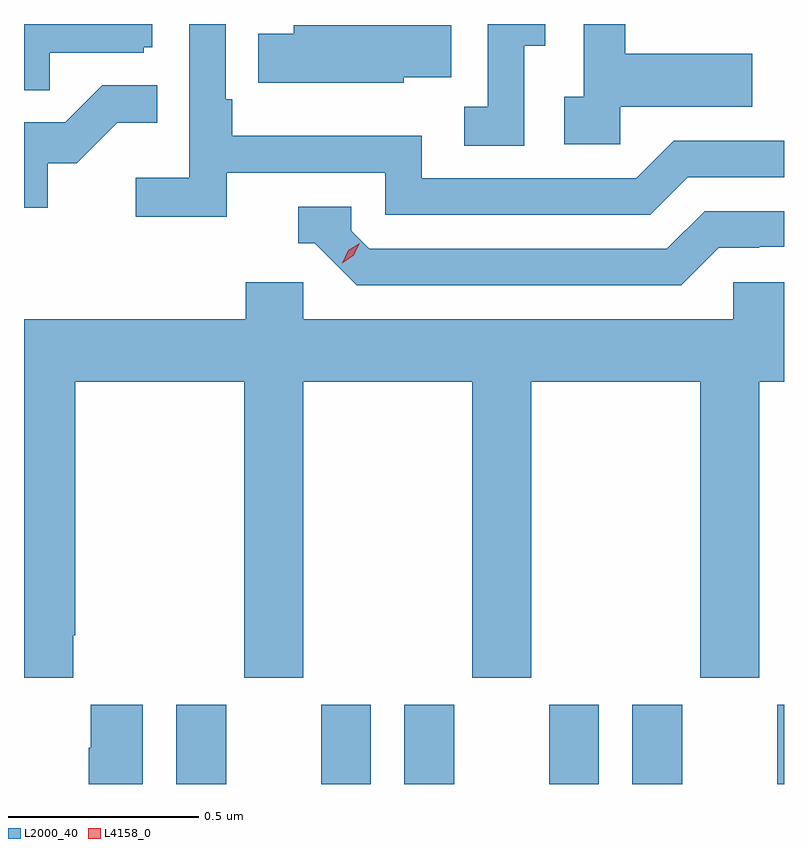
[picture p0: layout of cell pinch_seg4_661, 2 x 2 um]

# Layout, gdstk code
import gdstk
lib = gdstk.Library(unit=1e-6, precision=1e-09)
def R(c, l, rs):  # rectangles x0, y0, x1, y1
    for r in rs: c.add(gdstk.rectangle(r[:2], r[2:], *l))
def P(c, l, *ps):  # polygons
    for p in ps: c.add(gdstk.Polygon(p, *l))
L2000_40 = (2000, 40)
L4158_0 = (4158, 0)

pinch_seg4_661 = lib.new_cell('pinch_seg4_661')
R(pinch_seg4_661, L2000_40, [(1077.32,766.457,1077.451,766.666), (1077.701,766.457,1077.832,766.666), (1077.92,766.457,1078.051,766.666), (1078.301,766.457,1078.432,766.666), (1078.52,766.457,1078.651,766.666), (1078.901,766.457,1078.919,766.666)])
P(pinch_seg4_661, L2000_40, [(1078.488,768.239),(1078.835,768.239),(1078.835,768.379),(1078.501,768.379),(1078.501,768.457),(1078.392,768.457),(1078.392,768.266),(1078.341,768.266),(1078.341,768.141),(1078.488,768.141)],
  [(1077.452,768.066),(1077.87,768.066),(1077.87,767.955),(1078.567,767.955),(1078.666,768.054),(1078.919,768.054),(1078.919,768.15),(1078.629,768.15),(1078.53,768.051),(1077.966,768.051),(1077.966,768.163),(1077.467,768.163),(1077.467,768.259),(1077.45,768.259),(1077.45,768.457),(1077.354,768.457),(1077.354,768.052),(1077.213,768.052),(1077.213,767.95),(1077.452,767.95)],
  [(1078.236,768.4),(1078.291,768.4),(1078.291,768.457),(1078.14,768.457),(1078.14,768.239),(1078.077,768.239),(1078.077,768.136),(1078.236,768.136)],
  [(1076.987,768.381),(1077.234,768.381),(1077.234,768.396),(1077.256,768.396),(1077.256,768.457),(1076.919,768.457),(1076.919,768.283),(1076.987,768.283)],
  [(1077.918,768.317),(1078.043,768.317),(1078.043,768.454),(1077.629,768.454),(1077.629,768.432),(1077.535,768.432),(1077.535,768.303),(1077.646,768.303),(1077.646,768.302),(1077.918,768.302)],
  [(1076.982,768.09),(1077.058,768.09),(1077.165,768.197),(1077.269,768.197),(1077.269,768.296),(1077.125,768.296),(1077.027,768.198),(1076.919,768.198),(1076.919,767.973),(1076.982,767.973)],
  [(1078.747,767.868),(1078.854,767.868),(1078.854,767.871),(1078.919,767.871),(1078.919,767.964),(1078.71,767.964),(1078.611,767.865),(1077.828,767.865),(1077.78,767.913),(1077.78,767.976),(1077.641,767.976),(1077.641,767.88),(1077.684,767.88),(1077.795,767.769),(1078.648,767.769)],
  [(1077.049,766.849),(1077.054,766.849),(1077.054,767.516),(1077.499,767.516),(1077.499,766.737),(1077.654,766.737),(1077.654,767.516),(1078.099,767.516),(1078.099,766.737),(1078.254,766.737),(1078.254,767.516),(1078.699,767.516),(1078.699,766.737),(1078.854,766.737),(1078.854,767.516),(1078.919,767.516),(1078.919,767.778),(1078.785,767.778),(1078.785,767.68),(1077.654,767.68),(1077.654,767.778),(1077.503,767.778),(1077.503,767.68),(1076.919,767.68),(1076.919,766.737),(1077.049,766.737)],
  [(1077.232,766.666),(1077.095,766.666),(1077.095,766.553),(1077.089,766.553),(1077.089,766.457),(1077.232,766.457)])
P(pinch_seg4_661, L4158_0, [(1077.756,767.828),(1077.756,767.828),(1077.772,767.861),(1077.802,767.88),(1077.803,767.88),(1077.803,767.88),(1077.787,767.848),(1077.756,767.828)])

lib.write_gds('pinch_seg4_661.gds')
